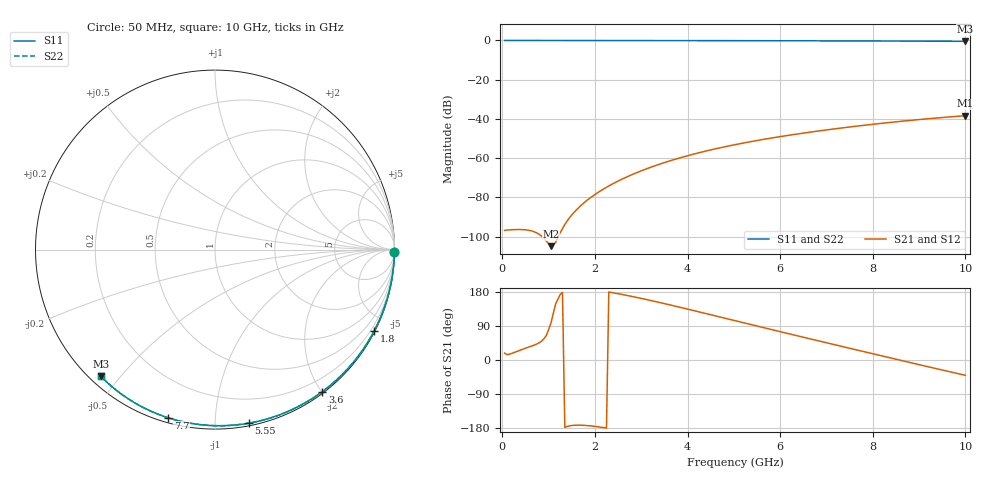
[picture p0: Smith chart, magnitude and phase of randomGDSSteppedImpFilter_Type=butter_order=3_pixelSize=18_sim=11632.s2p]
! freq	dB(S11)	phase(S11)	dB(S12)	phase(S12)
!  dB(S21)	phase(S21)	dB(S22)	phase(S22)
!S-par simulation data
#  GHz  S  DB  R 50
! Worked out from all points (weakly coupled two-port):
!   200 points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, 50 MHz to 10 GHz, reference 50 ohm
!   highest |S21| = -38.34 dB at 10 GHz (marker M1); lowest = -104.8 dB at 1.05 GHz (marker M2)
!   lowest |S11| = -0.4 dB at 10 GHz (marker M3), VSWR 39.18, Z = 1.53 - j22.2 ohm
!   |S11| at or under -10 dB: nowhere
!   |S22| runs from -0.4 to 0.0 dB; largest |S21 - S12| = 0
!   S11 on the Smith chart (normalised r, x): 50 MHz: open; 1.8 GHz: 0.04, -4.15; 3.6 GHz: 0.02, -2.01; 5.55 GHz: 0.02, -1.21; 7.7 GHz: 0.02, -0.76; 10 GHz: 0.03, -0.44
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0.05  -0.00 -0.8  -96.84 18.0  -96.84 18.0  -0.00 -0.8
0.55  -0.01 -8.4  -96.67 33.2  -96.67 33.2  -0.01 -8.4
1.05  -0.02 -15.9  -104.85 97.2  -104.85 97.2  -0.02 -15.9
1.75  -0.03 -26.3  -83.02 -172.3  -83.02 -172.3  -0.03 -26.4
1.8  -0.03 -27.1  -82.03 -172.7  -82.03 -172.7  -0.03 -27.1
1.9  -0.04 -28.6  -80.19 -173.8  -80.19 -173.8  -0.04 -28.6
2.25  -0.04 -33.7  -74.81 -179.6  -74.81 -179.6  -0.04 -33.7
2.55  -0.05 -38.0  -71.08 173.8  -71.08 173.8  -0.05 -38.1
2.95  -0.06 -43.8  -66.92 163.9  -66.92 163.9  -0.06 -43.8
3.4  -0.07 -50.1  -63.02 151.7  -63.02 151.7  -0.07 -50.2
3.6  -0.07 -52.9  -61.50 146.0  -61.50 146.0  -0.07 -53.0
3.9  -0.08 -57.1  -59.40 137.3  -59.40 137.3  -0.08 -57.1
4.3  -0.09 -62.6  -56.92 125.5  -56.92 125.5  -0.09 -62.6
5.05  -0.11 -72.6  -52.99 103.1  -52.99 103.1  -0.11 -72.6
5.55  -0.13 -79.1  -50.79 88.1  -50.79 88.1  -0.13 -79.1
6.1  -0.15 -86.1  -48.64 71.8  -48.64 71.8  -0.15 -86.1
6.7  -0.18 -93.5  -46.56 54.2  -46.56 54.2  -0.18 -93.5
7.2  -0.21 -99.6  -44.98 39.7  -44.98 39.7  -0.21 -99.6
7.7  -0.24 -105.5  -43.54 25.2  -43.54 25.2  -0.24 -105.6
8.35  -0.29 -113.2  -41.83 6.4  -41.83 6.4  -0.29 -113.2
9.15  -0.36 -122.4  -39.99 -16.6  -39.99 -16.6  -0.36 -122.4
10  -0.44 -132.0  -38.34 -40.4  -38.34 -40.4  -0.44 -132.0
